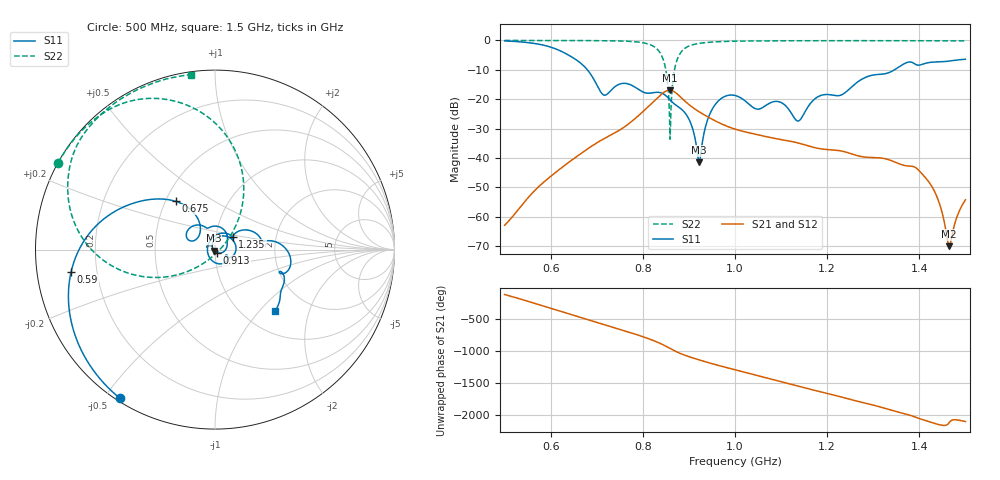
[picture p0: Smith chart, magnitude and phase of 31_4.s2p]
! TOUCHSTONE file generated by CST MICROWAVE STUDIO
! Date and time: Fri Oct  2 16:59:15 2020
! Project name: Scenario_1_Free_Space_out_of_line.cst
! Parameters = {Lambda=346.42; Step_1=17.321; dy1=-172.59; dx1=693; L_HA=400; MT=2.54; Rad_Dielectric=30; Rad_Lower=7.3; Rad_Upper=30; a_HA=580; a_WG=246; b_HA=500; b_WG=121; c_HA=0; c_WG=187; d_feed=85; h_feed=15; h_lower=18; h_upper=40}
! Header version: 2018
! Port assignment regex: !\s*Touchstone port\s*([0-9]+)\s*=\s*(CST MWS port|CST DS port)\s*([0-9]+|Zmin|Zmax)\s*\(\"(.*)\"\)(\s*mode\s*([0-9]+))?.*
! Touchstone port assignment:
! Touchstone port 1 = CST MWS port 1 ("")
! Touchstone port 2 = CST MWS port 2 ("")
# GHz S DB R 50
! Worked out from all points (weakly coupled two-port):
!   1003 points, 500 MHz to 1.5 GHz, reference 50 ohm
!   highest |S21| = -16.94 dB at 858 MHz (marker M1); lowest = -70.1 dB at 1.465 GHz (marker M2)
!   lowest |S11| = -41.6 dB at 922 MHz (marker M3), VSWR 1.02, Z = 49.4 - j0.55 ohm
!   |S11| at or under -10 dB: 679.6 MHz to 1.346 GHz (666.6 MHz wide, 65.8 % of centre)
!   |S22| runs from -33.6 to 0.0 dB; largest |S21 - S12| = 2.1e-05
!   S11 on the Smith chart (normalised r, x): 500 MHz: 0.01, -0.55; 590 MHz: 0.11, -0.08; 675 MHz: 0.56, +0.34; 913 MHz: 1.02, -0.04; 1.235 GHz: 1.21, +0.18; 1.5 GHz: 1.38, -1.22
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0.5  -0.15 -122.6  -62.98 -119.8  -62.98 -119.8  -0.01 151.1
0.59  -1.82 -171.3  -47.60 47.1  -47.59 47.0  -0.02 144.8
0.667  -7.99 135.2  -38.38 -122.1  -38.37 -122.1  -0.04 138.3
0.675  -9.19 129.2  -37.50 -140.1  -37.50 -140.1  -0.05 137.5
0.716  -18.64 142.0  -33.46 126.6  -33.46 126.6  -0.10 132.8
0.788  -16.42 118.0  -25.97 -30.4  -25.97 -30.4  -0.51 117.6
0.834  -17.68 85.8  -19.22 -152.7  -19.22 -152.7  -3.46 87.1
0.848  -18.57 62.1  -17.43 159.4  -17.43 159.4  -8.60 64.4
0.858  -20.06 46.2  -16.94 121.0  -16.94 121.0  -26.52 23.1
0.877  -22.61 22.7  -18.57 52.0  -18.57 52.0  -5.59 -166.7
0.913  -33.16 -56.3  -23.37 -41.7  -23.37 -41.7  -1.28 161.1
0.922  -41.58 -138.1  -24.29 -61.7  -24.29 -61.7  -1.02 157.3
0.952  -23.04 77.7  -26.98 -125.1  -26.98 -125.1  -0.54 148.7
1  -18.75 -4.6  -30.20 143.2  -30.20 143.2  -0.26 140.3
1.098  -21.01 -60.5  -33.73 -39.4  -33.73 -39.4  -0.12 129.9
1.136  -27.45 -176.7  -34.89 -111.7  -34.89 -111.7  -0.11 126.6
1.167  -20.85 75.6  -36.28 -168.7  -36.28 -168.7  -0.09 124.2
1.235  -18.22 35.9  -37.80 67.4  -37.80 67.4  -0.09 118.9
1.334  -10.97 9.6  -40.65 -118.3  -40.65 -118.3  -0.09 111.4
1.42  -7.56 -22.7  -48.05 53.9  -48.05 53.9  -0.11 104.7
1.465  -7.01 -35.3  -70.08 37.7  -70.07 37.9  -0.13 100.9
1.5  -6.41 -45.4  -54.28 52.4  -54.31 53.0  -0.14 97.9
